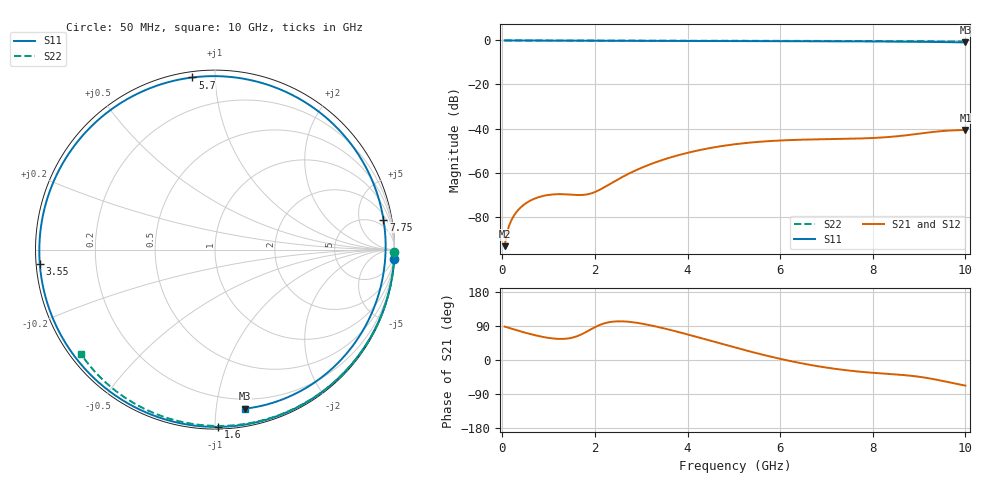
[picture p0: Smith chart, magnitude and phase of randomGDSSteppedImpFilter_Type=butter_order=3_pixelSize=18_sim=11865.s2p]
! freq	dB(S11)	phase(S11)	dB(S12)	phase(S12)
!  dB(S21)	phase(S21)	dB(S22)	phase(S22)
!S-par simulation data
#  GHz  S  DB  R 50
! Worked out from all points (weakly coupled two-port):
!   200 points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, 50 MHz to 10 GHz, reference 50 ohm
!   highest |S21| = -40.68 dB at 10 GHz (marker M1); lowest = -93.4 dB at 50 MHz (marker M2)
!   lowest |S11| = -0.9 dB at 10 GHz (marker M3), VSWR 19.38, Z = 6.33 - j60.1 ohm
!   |S11| at or under -10 dB: nowhere
!   |S22| runs from -0.5 to 0.0 dB; largest |S21 - S12| = 0
!   S11 on the Smith chart (normalised r, x): 50 MHz: 0, -38; 1.6 GHz: 0.01, -1.02; 3.55 GHz: 0.01, -0.04; 5.7 GHz: 0.03, +0.88; 7.75 GHz: 3, +11; 10 GHz: 0.13, -1.20
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0.05  -0.00 -3.0  -93.43 88.1  -93.43 88.1  -0.00 -0.8
0.25  -0.02 -14.8  -79.61 80.8  -79.61 80.8  -0.01 -4.1
0.5  -0.04 -29.3  -74.09 71.9  -74.09 71.9  -0.01 -8.2
0.9  -0.07 -51.9  -70.53 60.4  -70.53 60.4  -0.02 -14.7
1.25  -0.09 -70.9  -69.81 55.6  -69.81 55.6  -0.03 -20.3
1.6  -0.10 -88.9  -70.18 62.2  -70.18 62.2  -0.03 -25.9
1.75  -0.11 -96.3  -70.14 70.1  -70.14 70.1  -0.04 -28.3
2.05  -0.13 -110.7  -68.37 89.6  -68.37 89.6  -0.04 -33.0
2.6  -0.15 -135.5  -61.92 102.0  -61.92 102.0  -0.05 -41.6
3  -0.16 -152.6  -57.89 96.3  -57.89 96.3  -0.06 -47.7
3.4  -0.18 -169.1  -54.69 86.1  -54.69 86.1  -0.07 -53.8
3.55  -0.18 -175.2  -53.66 81.7  -53.66 81.7  -0.07 -56.0
4.25  -0.21 156.6  -49.84 59.2  -49.84 59.2  -0.09 -66.3
5.05  -0.25 124.4  -47.07 32.2  -47.07 32.2  -0.12 -77.7
5.7  -0.29 97.5  -45.80 11.7  -45.80 11.7  -0.14 -86.7
6.2  -0.31 76.4  -45.25 -2.3  -45.25 -2.3  -0.17 -93.4
6.7  -0.34 55.0  -44.95 -14.1  -44.95 -14.1  -0.19 -100.0
7.25  -0.37 31.3  -44.74 -24.4  -44.74 -24.4  -0.23 -107.2
7.75  -0.41 10.1  -44.51 -31.2  -44.51 -31.2  -0.26 -113.6
8.35  -0.49 -14.8  -43.85 -36.8  -43.85 -36.8  -0.31 -121.2
9.2  -0.65 -48.4  -41.80 -48.0  -41.80 -48.0  -0.39 -131.9
10  -0.90 -79.2  -40.68 -67.6  -40.68 -67.6  -0.48 -142.1
